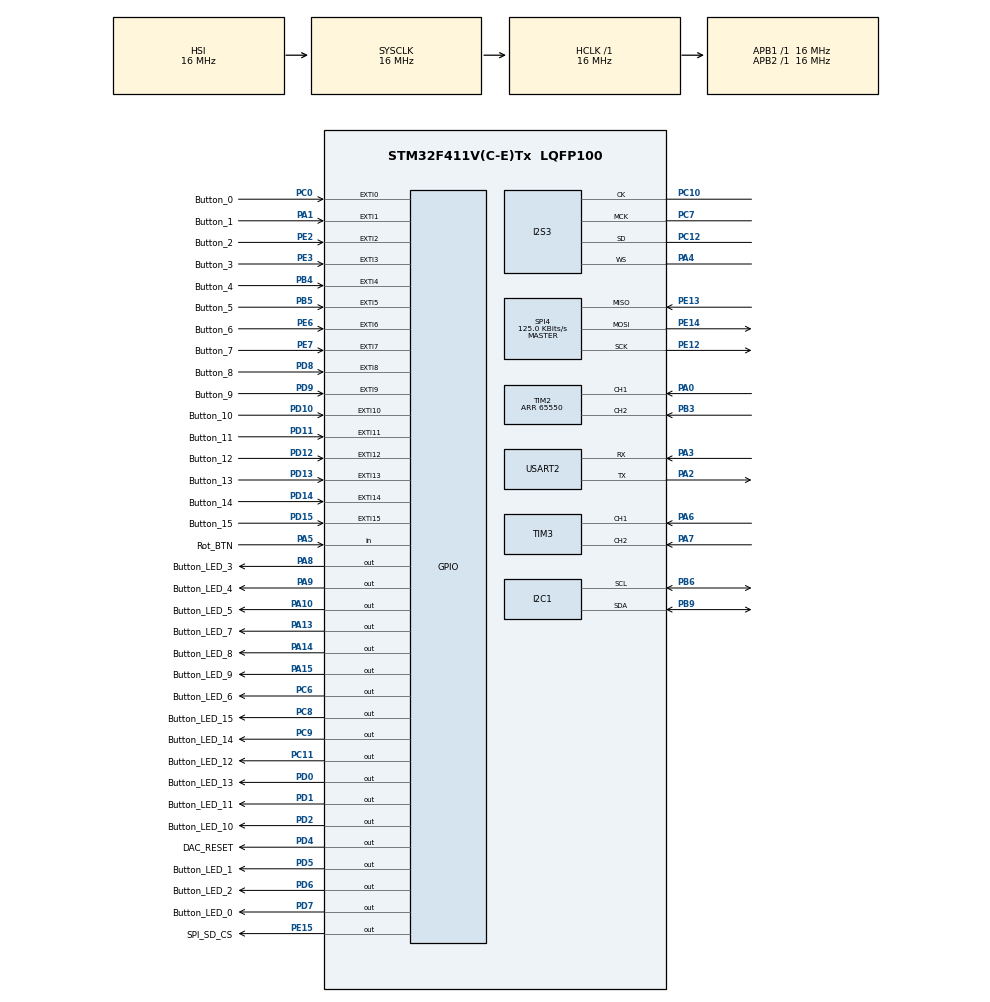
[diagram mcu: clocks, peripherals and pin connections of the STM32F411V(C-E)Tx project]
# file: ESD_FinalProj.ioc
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Dma.Request0=SPI3_TX
Dma.SPI3_TX.0.Direction=DMA_MEMORY_TO_PERIPH
Dma.SPI3_TX.0.FIFOMode=DMA_FIFOMODE_DISABLE
Dma.SPI3_TX.0.Instance=DMA1_Stream5
Dma.SPI3_TX.0.MemDataAlignment=DMA_MDATAALIGN_HALFWORD
Dma.SPI3_TX.0.MemInc=DMA_MINC_ENABLE
Dma.SPI3_TX.0.Mode=DMA_CIRCULAR
Dma.SPI3_TX.0.PeriphDataAlignment=DMA_PDATAALIGN_HALFWORD
Dma.SPI3_TX.0.PeriphInc=DMA_PINC_DISABLE
Dma.SPI3_TX.0.Priority=DMA_PRIORITY_LOW
I2C1.I2C_Mode=I2C_Fast
I2C1.OwnAddress=0
I2S3.AudioFreq=I2S_AUDIOFREQ_22K
I2S3.ErrorAudioFreq=0.24 %
I2S3.FullDuplexMode=I2S_FULLDUPLEXMODE_DISABLE
I2S3.Instance=SPI$Index
I2S3.RealAudioFreq=22.054 KHz
I2S3.VirtualMode=I2S_MODE_MASTER
Mcu.Family=STM32F4
Mcu.Name=STM32F411V(C-E)Tx
Mcu.Package=LQFP100
NVIC.DMA1_Stream5_IRQn=true\:0\:0\:false\:false\:true\:false\:true\:true
NVIC.EXTI0_IRQn=true\:0\:0\:false\:false\:true\:true\:true\:true
NVIC.EXTI15_10_IRQn=true\:0\:0\:false\:false\:true\:true\:true\:true
NVIC.EXTI1_IRQn=true\:0\:0\:false\:false\:true\:true\:true\:true
NVIC.EXTI2_IRQn=true\:0\:0\:false\:false\:true\:true\:true\:true
NVIC.EXTI3_IRQn=true\:0\:0\:false\:false\:true\:true\:true\:true
NVIC.EXTI4_IRQn=true\:0\:0\:false\:false\:true\:true\:true\:true
NVIC.EXTI9_5_IRQn=true\:0\:0\:false\:false\:true\:true\:true\:true
NVIC.PriorityGroup=NVIC_PRIORITYGROUP_4
NVIC.SPI3_IRQn=true\:0\:0\:false\:false\:true\:true\:true\:true
NVIC.TIM1_UP_TIM10_IRQn=true\:0\:0\:false\:false\:true\:true\:true\:true
NVIC.TIM2_IRQn=true\:0\:0\:false\:false\:true\:true\:true\:true
NVIC.TIM3_IRQn=true\:0\:0\:false\:false\:true\:true\:true\:true
PA0-WKUP.Signal=S_TIM2_CH1_ETR
PA1.GPIO_Label=Button_1
PA1.GPIO_ModeDefaultEXTI=GPIO_MODE_IT_FALLING
PA1.GPIO_PuPd=GPIO_PULLUP
PA1.Signal=GPXTI1
PA10.GPIO_Label=Button_LED_5
PA10.Signal=GPIO_Output
PA13.GPIO_Label=Button_LED_7
PA13.Signal=GPIO_Output
PA14.GPIO_Label=Button_LED_8
PA14.Signal=GPIO_Output
PA15.GPIO_Label=Button_LED_9
PA15.Signal=GPIO_Output
PA2.Mode=Asynchronous
PA2.Signal=USART2_TX
PA3.Mode=Asynchronous
PA3.Signal=USART2_RX
PA4.Mode=Half_Duplex_Master
PA4.Signal=I2S3_WS
PA5.GPIO_Label=Rot_BTN
PA5.GPIO_PuPd=GPIO_PULLUP
PA5.Signal=GPIO_Input
PA6.Signal=S_TIM3_CH1
PA7.Signal=S_TIM3_CH2
PA8.GPIO_Label=Button_LED_3
PA8.Signal=GPIO_Output
PA9.GPIO_Label=Button_LED_4
PA9.Signal=GPIO_Output
PB3.Signal=S_TIM2_CH2
PB4.GPIO_Label=Button_4
PB4.GPIO_ModeDefaultEXTI=GPIO_MODE_IT_FALLING
PB4.GPIO_PuPd=GPIO_PULLUP
PB4.Signal=GPXTI4
PB5.GPIO_Label=Button_5
PB5.GPIO_ModeDefaultEXTI=GPIO_MODE_IT_FALLING
PB5.GPIO_PuPd=GPIO_PULLUP
PB5.Signal=GPXTI5
PB6.GPIO_Pu=GPIO_PULLUP
PB6.Mode=I2C
PB6.Signal=I2C1_SCL
PB9.GPIO_Pu=GPIO_PULLUP
PB9.Mode=I2C
PB9.Signal=I2C1_SDA
PC0.GPIO_Label=Button_0
PC0.GPIO_ModeDefaultEXTI=GPIO_MODE_IT_FALLING
PC0.GPIO_PuPd=GPIO_PULLUP
PC0.Signal=GPXTI0
PC10.Mode=Half_Duplex_Master
PC10.Signal=I2S3_CK
PC11.GPIO_Label=Button_LED_12
PC11.Signal=GPIO_Output
PC12.Mode=Half_Duplex_Master
PC12.Signal=I2S3_SD
PC6.GPIO_Label=Button_LED_6
PC6.Signal=GPIO_Output
PC7.Mode=Master_Clock_Activated
PC7.Signal=I2S3_MCK
PC8.GPIO_Label=Button_LED_15
PC8.GPIO_ModeDefaultOutputPP=GPIO_MODE_OUTPUT_PP
PC8.GPIO_PuPd=GPIO_NOPULL
PC8.Signal=GPIO_Output
PC9.GPIO_Label=Button_LED_14
PC9.Signal=GPIO_Output
PD0.GPIO_Label=Button_LED_13
PD0.Signal=GPIO_Output
PD1.GPIO_Label=Button_LED_11
PD1.Signal=GPIO_Output
PD10.GPIO_Label=Button_10
PD10.GPIO_ModeDefaultEXTI=GPIO_MODE_IT_FALLING
PD10.GPIO_PuPd=GPIO_PULLUP
PD10.Signal=GPXTI10
PD11.GPIO_Label=Button_11
PD11.GPIO_ModeDefaultEXTI=GPIO_MODE_IT_FALLING
PD11.GPIO_PuPd=GPIO_PULLUP
PD11.Signal=GPXTI11
PD12.GPIO_Label=Button_12
PD12.GPIO_ModeDefaultEXTI=GPIO_MODE_IT_FALLING
PD12.GPIO_PuPd=GPIO_PULLUP
PD12.Signal=GPXTI12
PD13.GPIO_Label=Button_13
PD13.GPIO_ModeDefaultEXTI=GPIO_MODE_IT_FALLING
PD13.GPIO_PuPd=GPIO_PULLUP
PD13.Signal=GPXTI13
PD14.GPIO_Label=Button_14
PD14.GPIO_ModeDefaultEXTI=GPIO_MODE_IT_FALLING
PD14.GPIO_PuPd=GPIO_PULLUP
PD14.Signal=GPXTI14
PD15.GPIO_Label=Button_15
PD15.GPIO_ModeDefaultEXTI=GPIO_MODE_IT_FALLING
PD15.GPIO_PuPd=GPIO_PULLUP
PD15.Signal=GPXTI15
PD2.GPIO_Label=Button_LED_10
PD2.Signal=GPIO_Output
PD4.GPIO_Label=DAC_RESET
PD4.GPIO_ModeDefaultOutputPP=GPIO_MODE_OUTPUT_PP
PD4.GPIO_PuPd=GPIO_NOPULL
PD4.PinState=GPIO_PIN_SET
PD4.Signal=GPIO_Output
PD5.GPIO_Label=Button_LED_1
PD5.Signal=GPIO_Output
PD6.GPIO_Label=Button_LED_2
PD6.Signal=GPIO_Output
PD7.GPIO_Label=Button_LED_0
PD7.Signal=GPIO_Output
PD8.GPIO_Label=Button_8
PD8.GPIO_ModeDefaultEXTI=GPIO_MODE_IT_FALLING
PD8.GPIO_PuPd=GPIO_PULLUP
PD8.Signal=GPXTI8
PD9.GPIO_Label=Button_9
PD9.GPIO_ModeDefaultEXTI=GPIO_MODE_IT_FALLING
PD9.GPIO_PuPd=GPIO_PULLUP
PD9.Signal=GPXTI9
PE12.Mode=Full_Duplex_Master
PE12.Signal=SPI4_SCK
PE13.Mode=Full_Duplex_Master
PE13.Signal=SPI4_MISO
PE14.Mode=Full_Duplex_Master
PE14.Signal=SPI4_MOSI
PE15.GPIO_Label=SPI_SD_CS
PE15.Signal=GPIO_Output
PE2.GPIO_Label=Button_2
PE2.GPIO_ModeDefaultEXTI=GPIO_MODE_IT_FALLING
PE2.GPIO_PuPd=GPIO_PULLUP
PE2.Signal=GPXTI2
PE3.GPIO_Label=Button_3
PE3.GPIO_ModeDefaultEXTI=GPIO_MODE_IT_FALLING
PE3.GPIO_PuPd=GPIO_PULLUP
PE3.Signal=GPXTI3
PE6.GPIO_Label=Button_6
PE6.GPIO_ModeDefaultEXTI=GPIO_MODE_IT_FALLING
PE6.GPIO_PuPd=GPIO_PULLUP
PE6.Signal=GPXTI6
PE7.GPIO_Label=Button_7
PE7.GPIO_ModeDefaultEXTI=GPIO_MODE_IT_FALLING
PE7.GPIO_PuPd=GPIO_PULLUP
PE7.Signal=GPXTI7
ProjectManager.HeapSize=0x200
ProjectManager.StackSize=0x400
ProjectManager.TargetToolchain=STM32CubeIDE
RCC.AHBFreq_Value=16000000
RCC.APB1Freq_Value=16000000
RCC.APB1TimFreq_Value=16000000
RCC.APB2Freq_Value=16000000
RCC.APB2TimFreq_Value=16000000
RCC.CortexFreq_Value=16000000
RCC.HCLKFreq_Value=16000000
RCC.HSE_VALUE=25000000
RCC.HSI_VALUE=16000000
RCC.LSE_VALUE=32768
RCC.PLLI2SN=271
RCC.SYSCLKFreq_VALUE=16000000
RCC.VCOOutputFreq_Value=192000000
SH.S_TIM2_CH1_ETR.0=TIM2_CH1,Encoder_Interface
SH.S_TIM2_CH2.0=TIM2_CH2,Encoder_Interface
SH.S_TIM3_CH1.0=TIM3_CH1,Encoder_Interface
SH.S_TIM3_CH2.0=TIM3_CH2,Encoder_Interface
SPI4.BaudRatePrescaler=SPI_BAUDRATEPRESCALER_128
SPI4.CalculateBaudRate=125.0 KBits/s
SPI4.Direction=SPI_DIRECTION_2LINES
SPI4.Mode=SPI_MODE_MASTER
SPI4.VirtualType=VM_MASTER
TIM1.AutoReloadPreload=TIM_AUTORELOAD_PRELOAD_ENABLE
TIM1.Period=710
TIM1.Prescaler=3663
TIM2.Period=65550
USART2.VirtualMode=VM_ASYNC
VP_FATFS_VS_Generic.Mode=User_defined
VP_TIM1_VS_ClockSourceINT.Mode=Internal
board=custom

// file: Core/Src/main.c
/* USER CODE BEGIN Header */
/**
  ******************************************************************************
  * @file           : main.c
  * @brief          : Main program body
  ******************************************************************************
  * @attention
  *
  * Copyright (c) 2023 STMicroelectronics.
  * All rights reserved.
  *
  * This software is licensed under terms that can be found in the LICENSE file
  * in the root directory of this software component.
  * If no LICENSE file comes with this software, it is provided AS-IS.
  *
  ******************************************************************************
  */
/* USER CODE END Header */
#include "main.h"
#include "fatfs.h"

/* USER CODE BEGIN Includes */
#include "CS43L22_DAC.h"
#include "SD_card.h"
#include "beatEngine.h"
#include "buttons.h"
#include "rotatoryEncoder.h"
#include "lcd.h"

#include "stdio.h"
#include "string.h"

/* USER CODE END Includes */

I2C_HandleTypeDef hi2c1;

I2S_HandleTypeDef hi2s3;
DMA_HandleTypeDef hdma_spi3_tx;

SPI_HandleTypeDef hspi4;

TIM_HandleTypeDef htim1;
TIM_HandleTypeDef htim2;
TIM_HandleTypeDef htim3;

UART_HandleTypeDef huart2;

/* USER CODE BEGIN PV */

const uint16_t silenceData[] = {0,0,0,0,0,0,0,0,0,0};
rotatatory_encoder_evt_t menu_encoder_evt = NO_ROT_MVMT;

/* USER CODE END PV */

void SystemClock_Config(void);
static void MX_GPIO_Init(void);
static void MX_DMA_Init(void);
static void MX_I2C1_Init(void);
static void MX_I2S3_Init(void);
static void MX_USART2_UART_Init(void);
static void MX_SPI4_Init(void);
static void MX_TIM1_Init(void);
static void MX_TIM2_Init(void);
static void MX_TIM3_Init(void);
/* USER CODE BEGIN PFP */
#ifdef __GNUC__
#define PUTCHAR_PROTOTYPE int __io_putchar(int ch)
#else
#define PUTCHAR_PROTOTYPE int fputc(int ch, FILE *f)
#endif

PUTCHAR_PROTOTYPE
{
	HAL_UART_Transmit(&huart2, (uint8_t *)&ch, 1, HAL_MAX_DELAY);
	return ch;
}

#ifdef __GNUC__
#define GETCHAR_PROTOTYPE int __io_getchar(void)
#else
#define GETCHAR_PROTOTYPE int fgetc(FILE *f)
#endif

GETCHAR_PROTOTYPE
{
	uint8_t ch = 0;

	__HAL_UART_CLEAR_OREFLAG(&huart2);

	/* Wait for reception of a character on the USART RX line and echo this
	* character on console */
	HAL_UART_Receive(&huart2, (uint8_t *)&ch, 1, HAL_MAX_DELAY);
	HAL_UART_Transmit(&huart2, (uint8_t *)&ch, 1, HAL_MAX_DELAY);
	return ch;
}
/* USER CODE END PFP */

int main(void)
{

  /* MCU Configuration--------------------------------------------------------*/

  /* Reset of all peripherals, Initializes the Flash interface and the Systick. */
  HAL_Init();

  /* USER CODE BEGIN Init */
  setvbuf(stdin, NULL, _IONBF, 0);
  /* USER CODE END Init */

  /* Configure the system clock */
  SystemClock_Config();

  /* Initialize all configured peripherals */
  MX_GPIO_Init();
  MX_DMA_Init();
  MX_I2C1_Init();
  MX_I2S3_Init();
  MX_FATFS_Init();
  MX_USART2_UART_Init();
  MX_SPI4_Init();
  MX_TIM1_Init();
  MX_TIM2_Init();
  MX_TIM3_Init();
  /* USER CODE BEGIN 2 */

  //Reset DAC with RESET line
  HAL_GPIO_WritePin(DAC_RESET_GPIO_Port, DAC_RESET_Pin, GPIO_PIN_RESET);
  HAL_Delay(100);
  HAL_GPIO_WritePin(DAC_RESET_GPIO_Port, DAC_RESET_Pin, GPIO_PIN_SET);

  dac_powerup_seq(&hi2c1);
  readDACreg(&hi2c1, CHIP_ID_AND_REV_REG, 1);
  configureDAC(&hi2c1);

  //Set LRCLK low to begin
  HAL_GPIO_WritePin(GPIOA,GPIO_PIN_4,GPIO_PIN_RESET);

  FATFS fs;
  FRESULT res;

  res = f_mount(&fs, "", 1);

  if(res!=FR_OK)
  {
	  printf("Error in mounting SD card!\r\n");
  }

  //Start sending zeros to DAC
  HAL_I2S_Transmit_DMA(&hi2s3, silenceData, 10);

  initUserPrograms();

  HAL_TIM_Base_Start_IT(&htim1);

  //Initialize LED buttons
  initButtons();
  loadPatternProgramming(Demo_pattern);

  //Set LEDs low
  HAL_GPIO_WritePin(GPIOC, GPIO_PIN_8, GPIO_PIN_RESET);

  //Start encoder interrupt-basedness
  init_rotatory_encoder();

  lcd_init();

  /* USER CODE END 2 */

  /* Infinite loop */
  /* USER CODE BEGIN WHILE */
  while (1)
  {
	  // Button press check for LCD's rotary knob
	  if(HAL_GPIO_ReadPin(Rot_BTN_GPIO_Port, Rot_BTN_Pin) == GPIO_PIN_RESET)
	  {
		  buttonPressed();
	  }
	  if(menu_encoder_evt != NO_ROT_MVMT)
	  {
		  rotateMenu(menu_encoder_evt);
		  menu_encoder_evt = NO_ROT_MVMT;
	  }
  }
    /* USER CODE END WHILE */

}

void SystemClock_Config(void)
{
  RCC_OscInitTypeDef RCC_OscInitStruct = {0};
  RCC_ClkInitTypeDef RCC_ClkInitStruct = {0};

  /** Macro to configure the PLL multiplication factor
  */
  __HAL_RCC_PLL_PLLM_CONFIG(16);

  /** Macro to configure the PLL clock source
  */
  __HAL_RCC_PLL_PLLSOURCE_CONFIG(RCC_PLLSOURCE_HSI);

  /** Configure the main internal regulator output voltage
  */
  __HAL_RCC_PWR_CLK_ENABLE();
  __HAL_PWR_VOLTAGESCALING_CONFIG(PWR_REGULATOR_VOLTAGE_SCALE1);

  /** Initializes the RCC Oscillators according to the specified parameters
  * in the RCC_OscInitTypeDef structure.
  */
  RCC_OscInitStruct.OscillatorType = RCC_OSCILLATORTYPE_HSI;
  RCC_OscInitStruct.HSIState = RCC_HSI_ON;
  RCC_OscInitStruct.HSICalibrationValue = RCC_HSICALIBRATION_DEFAULT;
  RCC_OscInitStruct.PLL.PLLState = RCC_PLL_NONE;
  RCC_OscInitStruct.PLL.PLLSource = RCC_PLLSOURCE_HSI;
  if (HAL_RCC_OscConfig(&RCC_OscInitStruct) != HAL_OK)
  {
    Error_Handler();
  }

  /** Initializes the CPU, AHB and APB buses clocks
  */
  RCC_ClkInitStruct.ClockType = RCC_CLOCKTYPE_HCLK|RCC_CLOCKTYPE_SYSCLK
                              |RCC_CLOCKTYPE_PCLK1|RCC_CLOCKTYPE_PCLK2;
  RCC_ClkInitStruct.SYSCLKSource = RCC_SYSCLKSOURCE_HSI;
  RCC_ClkInitStruct.AHBCLKDivider = RCC_SYSCLK_DIV1;
  RCC_ClkInitStruct.APB1CLKDivider = RCC_HCLK_DIV1;
  RCC_ClkInitStruct.APB2CLKDivider = RCC_HCLK_DIV1;

  if (HAL_RCC_ClockConfig(&RCC_ClkInitStruct, FLASH_LATENCY_0) != HAL_OK)
  {
    Error_Handler();
  }
}

static void MX_I2C1_Init(void)
{

  hi2c1.Instance = I2C1;
  hi2c1.Init.ClockSpeed = 400000;
  hi2c1.Init.DutyCycle = I2C_DUTYCYCLE_2;
  hi2c1.Init.OwnAddress1 = 0;
  hi2c1.Init.AddressingMode = I2C_ADDRESSINGMODE_7BIT;
  hi2c1.Init.DualAddressMode = I2C_DUALADDRESS_DISABLE;
  hi2c1.Init.OwnAddress2 = 0;
  hi2c1.Init.GeneralCallMode = I2C_GENERALCALL_DISABLE;
  hi2c1.Init.NoStretchMode = I2C_NOSTRETCH_DISABLE;
  if (HAL_I2C_Init(&hi2c1) != HAL_OK)
  {
    Error_Handler();
  }

}

static void MX_I2S3_Init(void)
{

  hi2s3.Instance = SPI3;
  hi2s3.Init.Mode = I2S_MODE_MASTER_TX;
  hi2s3.Init.Standard = I2S_STANDARD_PHILIPS;
  hi2s3.Init.DataFormat = I2S_DATAFORMAT_16B;
  hi2s3.Init.MCLKOutput = I2S_MCLKOUTPUT_ENABLE;
  hi2s3.Init.AudioFreq = I2S_AUDIOFREQ_22K;
  hi2s3.Init.CPOL = I2S_CPOL_LOW;
  hi2s3.Init.ClockSource = I2S_CLOCK_PLL;
  hi2s3.Init.FullDuplexMode = I2S_FULLDUPLEXMODE_DISABLE;
  if (HAL_I2S_Init(&hi2s3) != HAL_OK)
  {
    Error_Handler();
  }

}

static void MX_SPI4_Init(void)
{

  /* SPI4 parameter configuration*/
  hspi4.Instance = SPI4;
  hspi4.Init.Mode = SPI_MODE_MASTER;
  hspi4.Init.Direction = SPI_DIRECTION_2LINES;
  hspi4.Init.DataSize = SPI_DATASIZE_8BIT;
  hspi4.Init.CLKPolarity = SPI_POLARITY_LOW;
  hspi4.Init.CLKPhase = SPI_PHASE_1EDGE;
  hspi4.Init.NSS = SPI_NSS_SOFT;
  hspi4.Init.BaudRatePrescaler = SPI_BAUDRATEPRESCALER_128;
  hspi4.Init.FirstBit = SPI_FIRSTBIT_MSB;
  hspi4.Init.TIMode = SPI_TIMODE_DISABLE;
  hspi4.Init.CRCCalculation = SPI_CRCCALCULATION_DISABLE;
  hspi4.Init.CRCPolynomial = 10;
  if (HAL_SPI_Init(&hspi4) != HAL_OK)
  {
    Error_Handler();
  }

}

static void MX_TIM1_Init(void)
{

  TIM_ClockConfigTypeDef sClockSourceConfig = {0};
  TIM_MasterConfigTypeDef sMasterConfig = {0};

  htim1.Instance = TIM1;
  htim1.Init.Prescaler = 3663;
  htim1.Init.CounterMode = TIM_COUNTERMODE_UP;
  htim1.Init.Period = 710;
  htim1.Init.ClockDivision = TIM_CLOCKDIVISION_DIV1;
  htim1.Init.RepetitionCounter = 0;
  htim1.Init.AutoReloadPreload = TIM_AUTORELOAD_PRELOAD_ENABLE;
  if (HAL_TIM_Base_Init(&htim1) != HAL_OK)
  {
    Error_Handler();
  }
  sClockSourceConfig.ClockSource = TIM_CLOCKSOURCE_INTERNAL;
  if (HAL_TIM_ConfigClockSource(&htim1, &sClockSourceConfig) != HAL_OK)
  {
    Error_Handler();
  }
  sMasterConfig.MasterOutputTrigger = TIM_TRGO_RESET;
  sMasterConfig.MasterSlaveMode = TIM_MASTERSLAVEMODE_DISABLE;
  if (HAL_TIMEx_MasterConfigSynchronization(&htim1, &sMasterConfig) != HAL_OK)
  {
    Error_Handler();
  }

}

static void MX_TIM2_Init(void)
{

  TIM_Encoder_InitTypeDef sConfig = {0};
  TIM_MasterConfigTypeDef sMasterConfig = {0};

  htim2.Instance = TIM2;
  htim2.Init.Prescaler = 0;
  htim2.Init.CounterMode = TIM_COUNTERMODE_UP;
  htim2.Init.Period = 65550;
  htim2.Init.ClockDivision = TIM_CLOCKDIVISION_DIV1;
  htim2.Init.AutoReloadPreload = TIM_AUTORELOAD_PRELOAD_DISABLE;
  sConfig.EncoderMode = TIM_ENCODERMODE_TI1;
  sConfig.IC1Polarity = TIM_ICPOLARITY_RISING;
  sConfig.IC1Selection = TIM_ICSELECTION_DIRECTTI;
  sConfig.IC1Prescaler = TIM_ICPSC_DIV1;
  sConfig.IC1Filter = 0;
  sConfig.IC2Polarity = TIM_ICPOLARITY_RISING;
  sConfig.IC2Selection = TIM_ICSELECTION_DIRECTTI;
  sConfig.IC2Prescaler = TIM_ICPSC_DIV1;
  sConfig.IC2Filter = 0;
  if (HAL_TIM_Encoder_Init(&htim2, &sConfig) != HAL_OK)
  {
    Error_Handler();
  }
  sMasterConfig.MasterOutputTrigger = TIM_TRGO_RESET;
  sMasterConfig.MasterSlaveMode = TIM_MASTERSLAVEMODE_DISABLE;
  if (HAL_TIMEx_MasterConfigSynchronization(&htim2, &sMasterConfig) != HAL_OK)
  {
    Error_Handler();
  }

}

static void MX_TIM3_Init(void)
{

  TIM_Encoder_InitTypeDef sConfig = {0};
  TIM_MasterConfigTypeDef sMasterConfig = {0};

  htim3.Instance = TIM3;
  htim3.Init.Prescaler = 0;
  htim3.Init.CounterMode = TIM_COUNTERMODE_UP;
  htim3.Init.Period = 65535;
  htim3.Init.ClockDivision = TIM_CLOCKDIVISION_DIV1;
  htim3.Init.AutoReloadPreload = TIM_AUTORELOAD_PRELOAD_DISABLE;
  sConfig.EncoderMode = TIM_ENCODERMODE_TI1;
  sConfig.IC1Polarity = TIM_ICPOLARITY_RISING;
  sConfig.IC1Selection = TIM_ICSELECTION_DIRECTTI;
  sConfig.IC1Prescaler = TIM_ICPSC_DIV1;
  sConfig.IC1Filter = 0;
  sConfig.IC2Polarity = TIM_ICPOLARITY_RISING;
  sConfig.IC2Selection = TIM_ICSELECTION_DIRECTTI;
  sConfig.IC2Prescaler = TIM_ICPSC_DIV1;
  sConfig.IC2Filter = 0;
  if (HAL_TIM_Encoder_Init(&htim3, &sConfig) != HAL_OK)
  {
    Error_Handler();
  }
  sMasterConfig.MasterOutputTrigger = TIM_TRGO_RESET;
  sMasterConfig.MasterSlaveMode = TIM_MASTERSLAVEMODE_DISABLE;
  if (HAL_TIMEx_MasterConfigSynchronization(&htim3, &sMasterConfig) != HAL_OK)
  {
    Error_Handler();
  }

}

static void MX_USART2_UART_Init(void)
{

  huart2.Instance = USART2;
  huart2.Init.BaudRate = 115200;
  huart2.Init.WordLength = UART_WORDLENGTH_8B;
  huart2.Init.StopBits = UART_STOPBITS_1;
  huart2.Init.Parity = UART_PARITY_NONE;
  huart2.Init.Mode = UART_MODE_TX_RX;
  huart2.Init.HwFlowCtl = UART_HWCONTROL_NONE;
  huart2.Init.OverSampling = UART_OVERSAMPLING_16;
  if (HAL_UART_Init(&huart2) != HAL_OK)
  {
    Error_Handler();
  }

}

static void MX_DMA_Init(void)
{

  /* DMA controller clock enable */
  __HAL_RCC_DMA1_CLK_ENABLE();

  /* DMA interrupt init */
  /* DMA1_Stream5_IRQn interrupt configuration */
  HAL_NVIC_SetPriority(DMA1_Stream5_IRQn, 0, 0);
  HAL_NVIC_EnableIRQ(DMA1_Stream5_IRQn);

}

static void MX_GPIO_Init(void)
{
  GPIO_InitTypeDef GPIO_InitStruct = {0};

  /* GPIO Ports Clock Enable */
  __HAL_RCC_GPIOE_CLK_ENABLE();
  __HAL_RCC_GPIOC_CLK_ENABLE();
  __HAL_RCC_GPIOA_CLK_ENABLE();
  __HAL_RCC_GPIOD_CLK_ENABLE();
  __HAL_RCC_GPIOB_CLK_ENABLE();

  /*Configure GPIO pin Output Level */
  HAL_GPIO_WritePin(SPI_SD_CS_GPIO_Port, SPI_SD_CS_Pin, GPIO_PIN_RESET);

  /*Configure GPIO pin Output Level */
  HAL_GPIO_WritePin(GPIOC, Button_LED_6_Pin|Button_LED_15_Pin|Button_LED_14_Pin|Button_LED_12_Pin, GPIO_PIN_RESET);

  /*Configure GPIO pin Output Level */
  HAL_GPIO_WritePin(GPIOA, Button_LED_3_Pin|Button_LED_4_Pin|Button_LED_5_Pin|Button_LED_7_Pin
                          |Button_LED_8_Pin|Button_LED_9_Pin, GPIO_PIN_RESET);

  /*Configure GPIO pin Output Level */
  HAL_GPIO_WritePin(GPIOD, Button_LED_13_Pin|Button_LED_11_Pin|Button_LED_10_Pin|Button_LED_1_Pin
                          |Button_LED_2_Pin|Button_LED_0_Pin, GPIO_PIN_RESET);

  /*Configure GPIO pin Output Level */
  HAL_GPIO_WritePin(DAC_RESET_GPIO_Port, DAC_RESET_Pin, GPIO_PIN_SET);

  /*Configure GPIO pins : Button_2_Pin Button_3_Pin Button_6_Pin Button_7_Pin */
  GPIO_InitStruct.Pin = Button_2_Pin|Button_3_Pin|Button_6_Pin|Button_7_Pin;
  GPIO_InitStruct.Mode = GPIO_MODE_IT_FALLING;
  GPIO_InitStruct.Pull = GPIO_PULLUP;
  HAL_GPIO_Init(GPIOE, &GPIO_InitStruct);

  /*Configure GPIO pin : Button_0_Pin */
  GPIO_InitStruct.Pin = Button_0_Pin;
  GPIO_InitStruct.Mode = GPIO_MODE_IT_FALLING;
  GPIO_InitStruct.Pull = GPIO_PULLUP;
  HAL_GPIO_Init(Button_0_GPIO_Port, &GPIO_InitStruct);

  /*Configure GPIO pin : Button_1_Pin */
  GPIO_InitStruct.Pin = Button_1_Pin;
  GPIO_InitStruct.Mode = GPIO_MODE_IT_FALLING;
  GPIO_InitStruct.Pull = GPIO_PULLUP;
  HAL_GPIO_Init(Button_1_GPIO_Port, &GPIO_InitStruct);

  /*Configure GPIO pin : Rot_BTN_Pin */
  GPIO_InitStruct.Pin = Rot_BTN_Pin;
  GPIO_InitStruct.Mode = GPIO_MODE_INPUT;
  GPIO_InitStruct.Pull = GPIO_PULLUP;
  HAL_GPIO_Init(Rot_BTN_GPIO_Port, &GPIO_InitStruct);

  /*Configure GPIO pin : SPI_SD_CS_Pin */
  GPIO_InitStruct.Pin = SPI_SD_CS_Pin;
  GPIO_InitStruct.Mode = GPIO_MODE_OUTPUT_PP;
  GPIO_InitStruct.Pull = GPIO_NOPULL;
  GPIO_InitStruct.Speed = GPIO_SPEED_FREQ_LOW;
  HAL_GPIO_Init(SPI_SD_CS_GPIO_Port, &GPIO_InitStruct);

  /*Configure GPIO pins : Button_8_Pin Button_9_Pin Button_10_Pin Button_11_Pin
                           Button_12_Pin Button_13_Pin Button_14_Pin Button_15_Pin */
  GPIO_InitStruct.Pin = Button_8_Pin|Button_9_Pin|Button_10_Pin|Button_11_Pin
                          |Button_12_Pin|Button_13_Pin|Button_14_Pin|Button_15_Pin;
  GPIO_InitStruct.Mode = GPIO_MODE_IT_FALLING;
  GPIO_InitStruct.Pull = GPIO_PULLUP;
  HAL_GPIO_Init(GPIOD, &GPIO_InitStruct);

  /*Configure GPIO pins : Button_LED_6_Pin Button_LED_15_Pin Button_LED_14_Pin Button_LED_12_Pin */
  GPIO_InitStruct.Pin = Button_LED_6_Pin|Button_LED_15_Pin|Button_LED_14_Pin|Button_LED_12_Pin;
  GPIO_InitStruct.Mode = GPIO_MODE_OUTPUT_PP;
  GPIO_InitStruct.Pull = GPIO_NOPULL;
  GPIO_InitStruct.Speed = GPIO_SPEED_FREQ_LOW;
  HAL_GPIO_Init(GPIOC, &GPIO_InitStruct);

  /*Configure GPIO pins : Button_LED_3_Pin Button_LED_4_Pin Button_LED_5_Pin Button_LED_7_Pin
                           Button_LED_8_Pin Button_LED_9_Pin */
  GPIO_InitStruct.Pin = Button_LED_3_Pin|Button_LED_4_Pin|Button_LED_5_Pin|Button_LED_7_Pin
                          |Button_LED_8_Pin|Button_LED_9_Pin;
  GPIO_InitStruct.Mode = GPIO_MODE_OUTPUT_PP;
  GPIO_InitStruct.Pull = GPIO_NOPULL;
  GPIO_InitStruct.Speed = GPIO_SPEED_FREQ_LOW;
  HAL_GPIO_Init(GPIOA, &GPIO_InitStruct);

  /*Configure GPIO pins : Button_LED_13_Pin Button_LED_11_Pin Button_LED_10_Pin DAC_RESET_Pin
                           Button_LED_1_Pin Button_LED_2_Pin Button_LED_0_Pin */
  GPIO_InitStruct.Pin = Button_LED_13_Pin|Button_LED_11_Pin|Button_LED_10_Pin|DAC_RESET_Pin
                          |Button_LED_1_Pin|Button_LED_2_Pin|Button_LED_0_Pin;
  GPIO_InitStruct.Mode = GPIO_MODE_OUTPUT_PP;
  GPIO_InitStruct.Pull = GPIO_NOPULL;
  GPIO_InitStruct.Speed = GPIO_SPEED_FREQ_LOW;
  HAL_GPIO_Init(GPIOD, &GPIO_InitStruct);

  /*Configure GPIO pins : Button_4_Pin Button_5_Pin */
  GPIO_InitStruct.Pin = Button_4_Pin|Button_5_Pin;
  GPIO_InitStruct.Mode = GPIO_MODE_IT_FALLING;
  GPIO_InitStruct.Pull = GPIO_PULLUP;
  HAL_GPIO_Init(GPIOB, &GPIO_InitStruct);

  /* EXTI interrupt init*/
  HAL_NVIC_SetPriority(EXTI0_IRQn, 0, 0);
  HAL_NVIC_EnableIRQ(EXTI0_IRQn);

  HAL_NVIC_SetPriority(EXTI1_IRQn, 0, 0);
  HAL_NVIC_EnableIRQ(EXTI1_IRQn);

  HAL_NVIC_SetPriority(EXTI2_IRQn, 0, 0);
  HAL_NVIC_EnableIRQ(EXTI2_IRQn);

  HAL_NVIC_SetPriority(EXTI3_IRQn, 0, 0);
  HAL_NVIC_EnableIRQ(EXTI3_IRQn);

  HAL_NVIC_SetPriority(EXTI4_IRQn, 0, 0);
  HAL_NVIC_EnableIRQ(EXTI4_IRQn);

  HAL_NVIC_SetPriority(EXTI9_5_IRQn, 0, 0);
  HAL_NVIC_EnableIRQ(EXTI9_5_IRQn);

  HAL_NVIC_SetPriority(EXTI15_10_IRQn, 0, 0);
  HAL_NVIC_EnableIRQ(EXTI15_10_IRQn);

}

void Error_Handler(void)
{
  __disable_irq();
  while (1)
  {
  }
}
